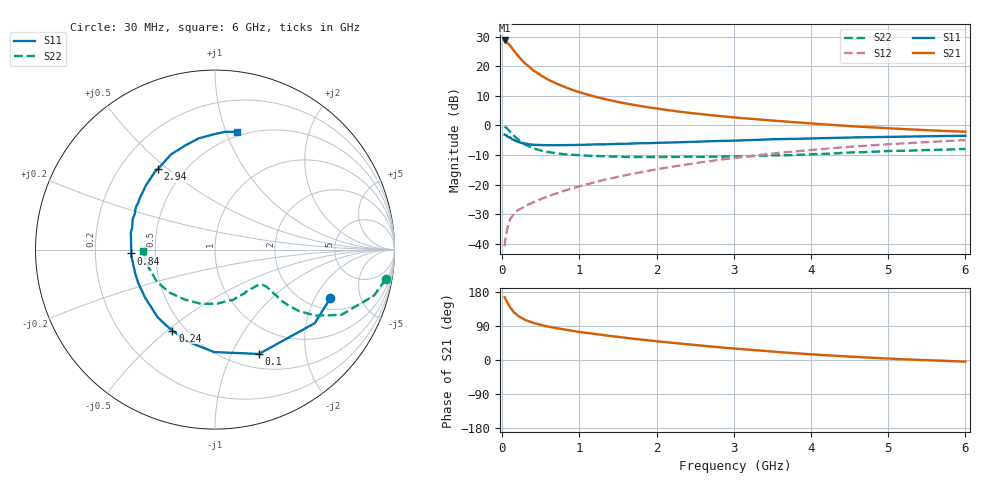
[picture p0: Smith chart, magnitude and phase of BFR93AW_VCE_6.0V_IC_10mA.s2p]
! Infineon Technologies  Discrete & RF Semiconductors
! BFR93AW
! VCE =  6.0 V,  IC =  10 mA
! Common Emitter S-Parameters:  Nov 2015
# GHz  S  MA  R  50
!  f  S11  S21  S12  S22
! GHz  MAG  ANG  MAG  ANG  MAG  ANG  MAG  ANG
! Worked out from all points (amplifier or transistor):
!   206 points, 30 MHz to 6 GHz, reference 50 ohm
!   highest |S21| = 28.7 dB at 30 MHz (marker M1)
!   |S21| within 3 dB of that: start of sweep to 136.6 MHz
!   unconditionally stable (mu >= 1): 750 MHz to 2.19 GHz
!   at 200 MHz: K = 0.48, MSG = 26.1 dB, |S12| = -28.6 dB
!   at 1.56 GHz: K = 1.06, MAG = 10.8 dB, |S12| = -17.0 dB
!   at 6 GHz: K = 0.89, MSG = 1.4 dB, |S12| = -5.0 dB
!   S11 on the Smith chart (normalised r, x): 30 MHz: 2.54, -2.69; 100 MHz: 0.66, -1.28; 240 MHz: 0.43, -0.52; 840 MHz: 0.36, -0.02; 2.94 GHz: 0.36, +0.46; 6 GHz: 0.46, +1.09
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0.03  0.6972 -23.0  27.31 165.9  0.0091 77.5  0.9644 -9.9
0.05  0.6905 -36.4  26.44 156.7  0.0146 73.9  0.9224 -16.1
0.1  0.6308 -67.2  22.46 138.7  0.0258 63.0  0.7926 -27.3
0.15  0.5708 -90.6  18.33 125.8  0.0319 56.6  0.6694 -33.3
0.2  0.5339 -107.1  15.22 117.1  0.0371 53.9  0.5817 -36.2
0.24  0.5096 -117.7  13.27 112.0  0.0391 52.7  0.5286 -37.0
0.26  0.5027 -122.5  12.45 109.6  0.0405 52.6  0.5065 -37.3
0.3  0.494 -130.5  11.04 105.4  0.0439 53.5  0.4709 -37.5
0.4  0.4723 -145.5  8.558 97.9  0.0498 54.7  0.4104 -36.7
0.5  0.4667 -155.9  6.997 92.3  0.0568 57.5  0.3743 -36.1
0.6  0.464 -163.4  5.888 87.9  0.064 59.7  0.3537 -35.8
0.7  0.4631 -170.0  5.106 84.0  0.0709 61.0  0.3392 -36.1
0.84  0.4668 -177.4  4.299 79.2  0.0813 63.1  0.3238 -37.2
1.04  0.4702 173.9  3.509 73.1  0.097 65.1  0.3111 -39.6
1.2  0.4791 168.2  3.061 68.6  0.1097 66.1  0.3049 -42.3
1.5  0.489 159.6  2.488 61.0  0.1351 67.0  0.2972 -48.4
2.02  0.5087 145.4  1.91 49.0  0.1832 66.1  0.2932 -61.5
2.94  0.5507 125.5  1.39 31.4  0.2749 60.9  0.2996 -85.7
3.1  0.558 122.2  1.332 28.8  0.2912 59.4  0.3014 -90.6
4.1  0.607 104.4  1.056 13.7  0.3953 49.5  0.328 -124.4
5.1  0.6435 90.2  0.881 2.7  0.4898 38.1  0.3709 -154.2
6  0.6678 79.4  0.783 -4.3  0.5636 27.6  0.4012 -178.6
